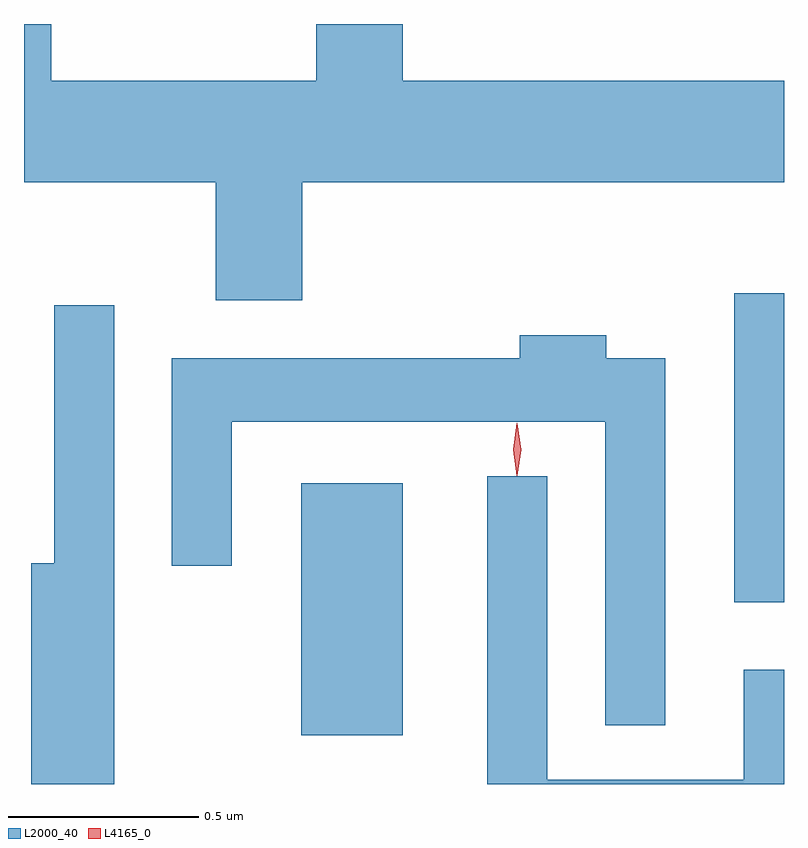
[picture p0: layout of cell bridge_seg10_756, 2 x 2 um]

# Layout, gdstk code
import gdstk
lib = gdstk.Library(unit=1e-6, precision=1e-09)
def R(c, l, rs):  # rectangles x0, y0, x1, y1
    for r in rs: c.add(gdstk.rectangle(r[:2], r[2:], *l))
def P(c, l, *ps):  # polygons
    for p in ps: c.add(gdstk.Polygon(p, *l))
L2000_40 = (2000, 40)
L4165_0 = (4165, 0)

bridge_seg10_756 = lib.new_cell('bridge_seg10_756')
R(bridge_seg10_756, L2000_40, [(850.186,2141.321,850.454,2141.984), (851.326,2141.671,851.457,2142.484)])
P(bridge_seg10_756, L2000_40, [(850.189,2142.776),(851.457,2142.776),(851.457,2143.044),(850.454,2143.044),(850.454,2143.193),(850.226,2143.193),(850.226,2143.044),(849.529,2143.044),(849.529,2143.193),(849.457,2143.193),(849.457,2142.776),(849.961,2142.776),(849.961,2142.466),(850.189,2142.466)],
  [(849.694,2142.453),(849.536,2142.453),(849.536,2141.774),(849.476,2141.774),(849.476,2141.193),(849.694,2141.193)],
  [(851.144,2142.314),(850.989,2142.314),(850.989,2142.374),(850.761,2142.374),(850.761,2142.314),(849.846,2142.314),(849.846,2141.768),(850.004,2141.768),(850.004,2142.146),(850.986,2142.146),(850.986,2141.348),(851.144,2141.348)],
  [(851.457,2141.494),(851.351,2141.494),(851.351,2141.204),(850.834,2141.204),(850.834,2142.003),(850.676,2142.003),(850.676,2141.193),(851.457,2141.193)])
P(bridge_seg10_756, L4165_0, [(850.754,2142.007),(850.754,2142.008),(850.744,2142.074),(850.754,2142.14),(850.754,2142.14),(850.755,2142.14),(850.764,2142.074),(850.755,2142.008)],
  [(850.754,2142.004),(850.745,2142.073),(850.754,2142.142),(850.755,2142.143),(850.755,2142.142),(850.765,2142.073),(850.755,2142.004),(850.755,2142.004)])

lib.write_gds('bridge_seg10_756.gds')
